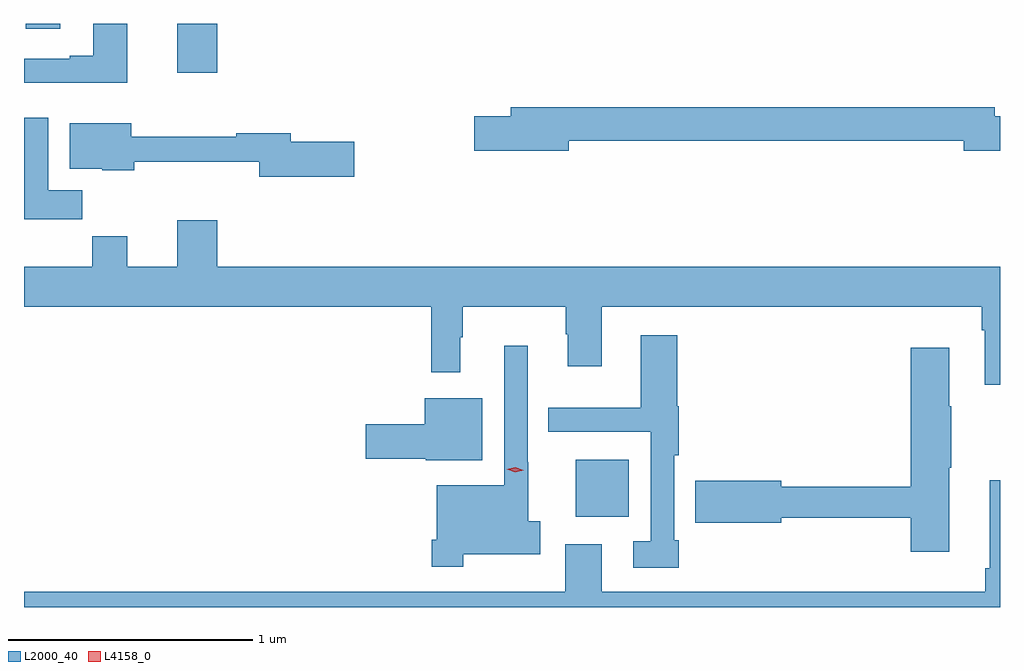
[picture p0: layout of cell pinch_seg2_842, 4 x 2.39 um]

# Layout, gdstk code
import gdstk
lib = gdstk.Library(unit=1e-6, precision=1e-09)
def R(c, l, rs):  # rectangles x0, y0, x1, y1
    for r in rs: c.add(gdstk.rectangle(r[:2], r[2:], *l))
def P(c, l, *ps):  # polygons
    for p in ps: c.add(gdstk.Polygon(p, *l))
L2000_40 = (2000, 40)
L4158_0 = (4158, 0)

pinch_seg2_842 = lib.new_cell('pinch_seg2_842')
R(pinch_seg2_842, L2000_40, [(538.268,584.171,538.486,584.404), (536.636,585.99,536.8,586.191), (536.015,586.17,536.155,586.191)])
P(pinch_seg2_842, L2000_40, [(536.431,586.191),(536.291,586.191),(536.291,586.06),(536.195,586.06),(536.195,586.047),(536.007,586.047),(536.007,585.95),(536.431,585.95)],
  [(538.24,585.712),(539.858,585.712),(539.858,585.67),(540.007,585.67),(540.007,585.812),(539.986,585.812),(539.986,585.848),(538.001,585.848),(538.001,585.812),(537.852,585.812),(537.852,585.67),(538.24,585.67)],
  [(536.246,585.508),(536.107,585.508),(536.107,585.805),(536.007,585.805),(536.007,585.39),(536.246,585.39)],
  [(537.361,585.707),(537.1,585.707),(537.1,585.743),(536.876,585.743),(536.876,585.728),(536.446,585.728),(536.446,585.784),(536.195,585.784),(536.195,585.596),(536.328,585.596),(536.328,585.59),(536.459,585.59),(536.459,585.625),(536.972,585.625),(536.972,585.565),(537.361,585.565)],
  [(540.007,585.196),(536.8,585.196),(536.8,585.385),(536.636,585.385),(536.636,585.196),(536.431,585.196),(536.431,585.32),(536.287,585.32),(536.287,585.196),(536.007,585.196),(536.007,585.032),(537.676,585.032),(537.676,584.763),(537.794,584.763),(537.794,584.906),(537.805,584.906),(537.805,585.032),(538.228,585.032),(538.228,584.918),(538.235,584.918),(538.235,584.787),(538.375,584.787),(538.375,585.032),(539.933,585.032),(539.933,584.936),(539.945,584.936),(539.945,584.712),(540.007,584.712)],
  [(538.691,584.074),(538.671,584.074),(538.671,584.423),(538.691,584.423),(538.691,584.623),(538.685,584.623),(538.685,584.914),(538.535,584.914),(538.535,584.617),(538.156,584.617),(538.156,584.52),(538.575,584.52),(538.575,584.071),(538.503,584.071),(538.503,583.962),(538.691,583.962)],
  [(537.808,584.018),(538.123,584.018),(538.123,584.153),(538.073,584.153),(538.073,584.395),(538.071,584.395),(538.071,584.872),(537.975,584.872),(537.975,584.299),(537.699,584.299),(537.699,584.077),(537.679,584.077),(537.679,583.965),(537.808,583.965)],
  [(539.8,584.371),(539.808,584.371),(539.808,584.624),(539.8,584.624),(539.8,584.863),(539.642,584.863),(539.642,584.294),(539.11,584.294),(539.11,584.318),(538.758,584.318),(538.758,584.147),(539.11,584.147),(539.11,584.166),(539.642,584.166),(539.642,584.028),(539.8,584.028)],
  [(537.886,584.656),(537.65,584.656),(537.65,584.55),(537.408,584.55),(537.408,584.408),(537.654,584.408),(537.654,584.402),(537.886,584.402)],
  [(540.007,584.32),(539.966,584.32),(539.966,583.96),(539.947,583.96),(539.947,583.864),(538.375,583.864),(538.375,584.059),(538.226,584.059),(538.226,583.864),(536.007,583.864),(536.007,583.8),(540.007,583.8)])
P(pinch_seg2_842, L4158_0, [(538.02,584.354),(537.985,584.365),(537.985,584.365),(537.985,584.366),(538.021,584.374),(538.056,584.362),(538.056,584.362),(538.056,584.362)])

lib.write_gds('pinch_seg2_842.gds')
